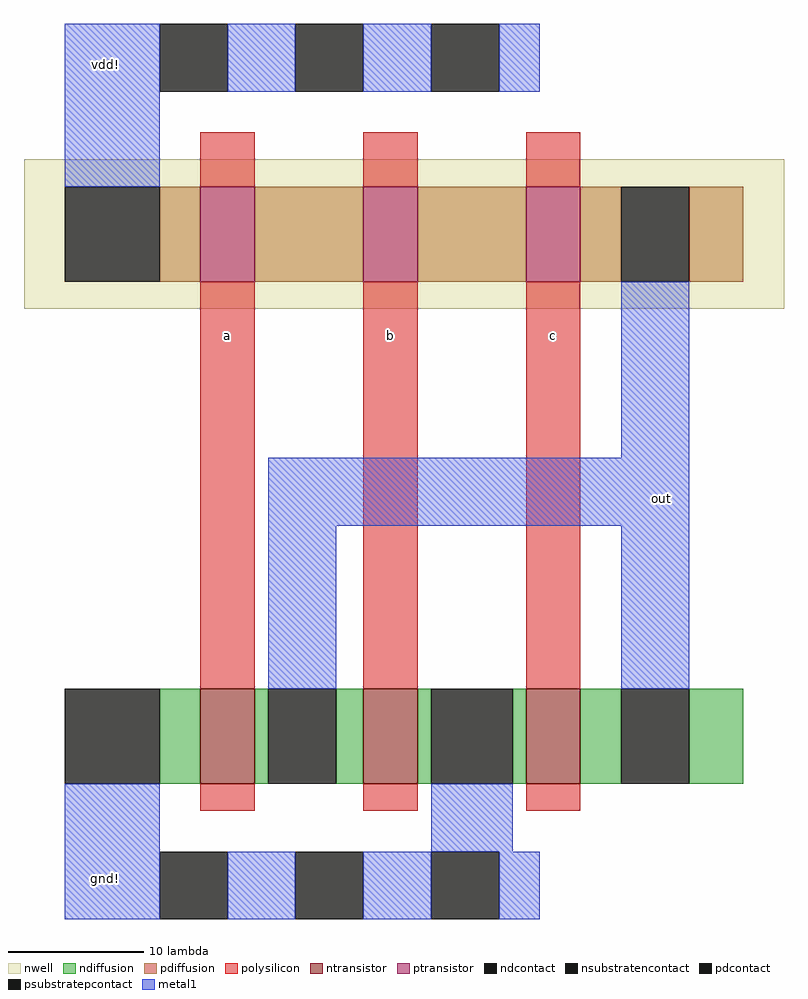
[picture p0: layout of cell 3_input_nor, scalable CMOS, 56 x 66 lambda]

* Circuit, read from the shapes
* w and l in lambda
.subckt 3_input_nor a b c gnd! out vdd!
M1 out a gnd! gnd! nfet w=7 l=4
M2 gnd! b out gnd! nfet w=7 l=4
M3 out c gnd! gnd! nfet w=7 l=4
M4 n1 a vdd! n2 pfet w=7 l=4
M5 n3 b n1 n2 pfet w=7 l=4
M6 out c n3 n2 pfet w=7 l=4
.ends

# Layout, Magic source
magic
tech scmos
<< nwell >>
rect -27 -1 29 10
<< polysilicon >>
rect -14 8 -10 12
rect -2 8 2 12
rect 10 8 14 12
rect -14 -29 -10 1
rect -2 -29 2 1
rect 10 -29 14 1
rect -14 -38 -10 -36
rect -2 -38 2 -36
rect 10 -38 14 -36
<< ndiffusion >>
rect -17 -36 -14 -29
rect -10 -36 -9 -29
rect -4 -36 -2 -29
rect 2 -36 3 -29
rect 9 -36 10 -29
rect 14 -36 17 -29
rect 22 -36 26 -29
<< pdiffusion >>
rect -17 1 -14 8
rect -10 1 -2 8
rect 2 1 10 8
rect 14 1 17 8
rect 22 1 26 8
<< metal1 >>
rect -24 8 -17 20
rect -12 15 -7 20
rect -2 15 3 20
rect 8 15 11 20
rect 17 -12 22 1
rect -9 -17 22 -12
rect -9 -29 -4 -17
rect 17 -29 22 -17
rect -24 -46 -17 -36
rect 3 -41 9 -36
rect -12 -46 -7 -41
rect -2 -46 3 -41
rect 8 -46 11 -41
<< ntransistor >>
rect -14 -36 -10 -29
rect -2 -36 2 -29
rect 10 -36 14 -29
<< ptransistor >>
rect -14 1 -10 8
rect -2 1 2 8
rect 10 1 14 8
<< ndcontact >>
rect -24 -36 -17 -29
rect -9 -36 -4 -29
rect 3 -36 9 -29
rect 17 -36 22 -29
<< pdcontact >>
rect -24 1 -17 8
rect 17 1 22 8
<< psubstratepcontact >>
rect -17 -46 -12 -41
rect -7 -46 -2 -41
rect 3 -46 8 -41
<< nsubstratencontact >>
rect -17 15 -12 20
rect -7 15 -2 20
rect 3 15 8 20
<< labels >>
rlabel metal1 -21 17 -21 17 5 vdd!
rlabel metal1 -21 -43 -21 -43 1 gnd!
rlabel polysilicon -12 -3 -12 -3 1 a
rlabel polysilicon 0 -3 0 -3 1 b
rlabel polysilicon 12 -3 12 -3 1 c
rlabel metal1 20 -15 20 -15 1 out
<< end >>
